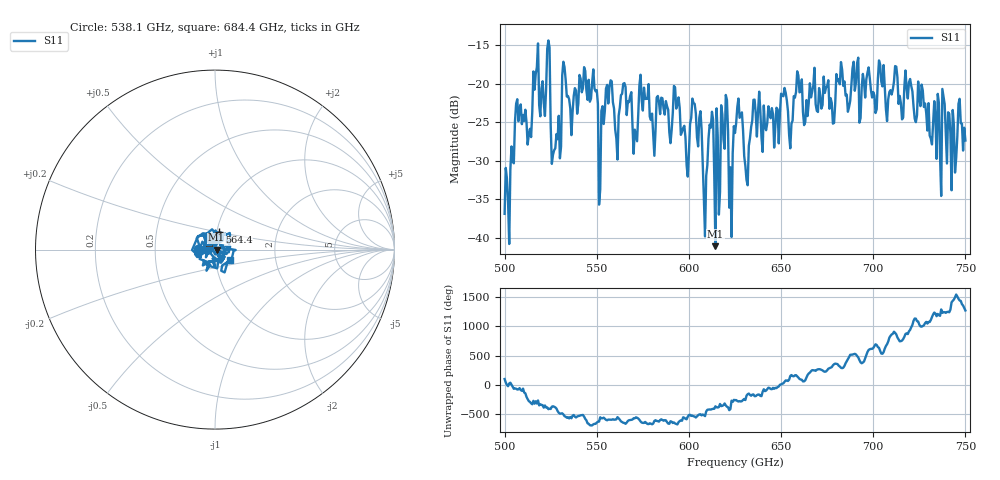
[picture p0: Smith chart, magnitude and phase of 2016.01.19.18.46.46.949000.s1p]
!Created with skrf (http://scikit-rf.org).
# GHz S RI R 50.0
!freq ReS11 ImS11
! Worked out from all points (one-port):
!   401 points, 500 GHz to 750 GHz, reference 50 ohm
!   lowest |S11| = -41.1 dB at 614.4 GHz (marker M1), VSWR 1.02, Z = 50.9 - j0.0629 ohm
!   |S11| at or under -10 dB: start of sweep to end of sweep
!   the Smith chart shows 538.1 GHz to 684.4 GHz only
!   S11 on the Smith chart (normalised r, x): 538.1 GHz: 0.83, +0.00; 564.4 GHz: 1.03, +0.20; 684.4 GHz: 1.17, -0.14
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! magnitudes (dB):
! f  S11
! 500 GHz  -36.9
! 516.9 GHz  -18.8
! 523.8 GHz  -14.4
! 526.9 GHz  -28.6
! 531.2 GHz  -18.9
! 538.1 GHz  -20.6
! 548.8 GHz  -20.6
! 552.5 GHz  -23.5
! 562.5 GHz  -23.1
! 564.4 GHz  -20.0
! 570.6 GHz  -26.0
! 574.4 GHz  -22.2
! 593.8 GHz  -22.7
! 598.8 GHz  -30.6
! 602.5 GHz  -22.5
! 608.8 GHz  -39.8
! 611.9 GHz  -25.7
! 614.4 GHz  -41.1
! 619.4 GHz  -28.4
! 623.1 GHz  -39.9
! 625 GHz  -26.4
! 631.2 GHz  -32.5
! 635 GHz  -22.1
! 656.2 GHz  -24.8
! 684.4 GHz  -19.7
! 687.5 GHz  -22.3
! 718.8 GHz  -21.9
! 750 GHz  -27.4
